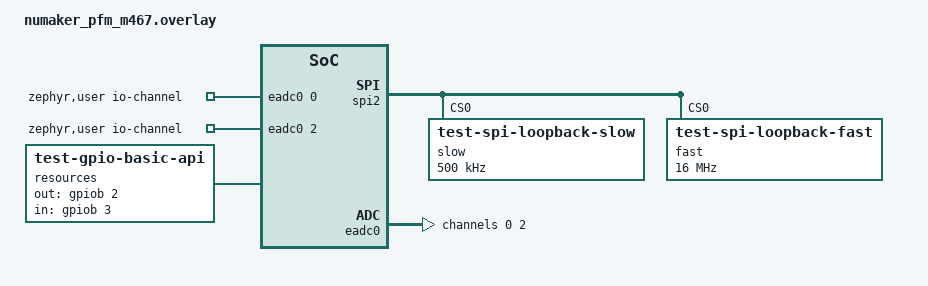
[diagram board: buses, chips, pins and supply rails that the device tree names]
/* SPDX-License-Identifier: Apache-2.0 */

&pinctrl {
	/* EVB's NU5: SS/CLK/MISO/MOSI */
	spi2_default: spi2_default {
		group0 {
			pinmux = <PA11MFP_SPI2_SS>,
				 <PA10MFP_SPI2_CLK>,
				 <PA9MFP_SPI2_MISO>,
				 <PA8MFP_SPI2_MOSI>;
		};
	};
};

&gpioa {
	status = "okay";
};

&spi2 {
	slow@0 {
		compatible = "test-spi-loopback-slow";
		reg = <0>;
		spi-max-frequency = <500000>;
	};

	fast@0 {
		compatible = "test-spi-loopback-fast";
		reg = <0>;
		spi-max-frequency = <16000000>;
	};

	status = "okay";
	pinctrl-0 = <&spi2_default>;
	pinctrl-names = "default";
};

/ {
	zephyr,user {
		io-channels = <&eadc0 0>, <&eadc0 2>;
	};
};

&pinctrl {
	eadc0_default: eadc0_default {
		group0 {
			pinmux = <PB0MFP_EADC0_CH0>, <PB2MFP_EADC0_CH2>;
		};
	};
};

&eadc0 {
	status = "okay";
	pinctrl-0 = <&eadc0_default>;
	pinctrl-names = "default";
	#address-cells = <1>;
	#size-cells = <0>;
	channel@0 {
		reg = <0>;
		zephyr,gain = "ADC_GAIN_1";
		zephyr,reference = "ADC_REF_INTERNAL";
		zephyr,acquisition-time = <ADC_ACQ_TIME_DEFAULT>;
		zephyr,resolution = <10>;
	};
	channel@2 {
		reg = <2>;
		zephyr,gain = "ADC_GAIN_1";
		zephyr,reference = "ADC_REF_INTERNAL";
		zephyr,acquisition-time = <ADC_ACQ_TIME_DEFAULT>;
		zephyr,resolution = <10>;
	};
};

/ {
	resources {
		compatible = "test-gpio-basic-api";
		out-gpios = <&gpiob 2 0>;
		in-gpios = <&gpiob 3 0>;
	};
};
